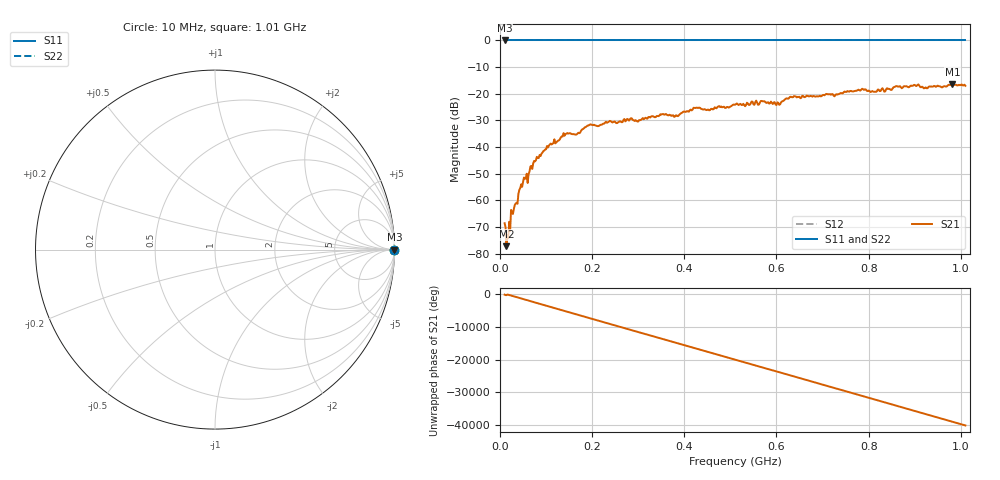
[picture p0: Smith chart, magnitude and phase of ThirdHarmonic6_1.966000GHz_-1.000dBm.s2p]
! 8/16/2025 11:39:33 PM
! C:\ANRITSUVNA\TEMP\TEMP.S2P
! CHANNEL.1
! TR.MEASUREMENT
! RAW.DATA
! RF.CORRECTION.OFF
! AVERAGING.OFF
! IF.BANDWIDTH: 5KHZ
! SWEEPTYPE:  FREQ.SWEEP(Linear)
! Reference Plane Port Info
! PORT:  PORT1  PORT2
! DISTANCE:  0  m  0  m
! TIME:  0  s  0  s
! PHASE.OFFSET:  0  deg.  0  deg.
! LOSS:  0  dB  0  dB
! REF.LOSS:  0  dB  0  dB
! REF.FREQ:  0  Hz  0  Hz
! Power Info
! POWER:  -20  dBm  -20  dBm
! EFF.POWER:  -20  dBm  -20  dBm
! SOURCE.ATTEN:  0  dB  0  dB
! TEST.ATTEN:  0  dB  0  dB
# GHZ S RI R 50.0
! FREQ.GHZ  S11RE  S11IM  S21RE  S21IM  S12RE  S12IM  S22RE  S22IM
!; PortSelection: Port_12
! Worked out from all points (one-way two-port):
!   501 points, 10 MHz to 1.01 GHz, reference 50 ohm
!   highest |S21| = -16.40 dB at 982 MHz (marker M1); lowest = -77.2 dB at 14 MHz (marker M2)
!   lowest |S11| = 0.0 dB at 10 MHz (marker M3)
!   |S11| at or under -10 dB: nowhere
!   |S22| runs from 0.0 to 0.0 dB; largest |S21 - S12| = 1.1
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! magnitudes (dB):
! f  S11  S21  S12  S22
! 10 MHz  0.0  -68.6  0.0  0.0
! 14 MHz  0.0  -77.2  0.0  0.0
! 18 MHz  0.0  -74.2  0.0  0.0
! 28 MHz  0.0  -65.1  0.0  0.0
! 48 MHz  0.0  -54.9  0.0  0.0
! 76 MHz  0.0  -45.4  0.0  0.0
! 106 MHz  0.0  -39.5  0.0  0.0
! 142 MHz  0.0  -35.2  0.0  0.0
! 178 MHz  0.0  -33.4  0.0  0.0
! 194 MHz  0.0  -31.7  0.0  0.0
! 344 MHz  0.0  -28.4  0.0  0.0
! 382 MHz  0.0  -28.1  0.0  0.0
! 424 MHz  0.0  -25.4  0.0  0.0
! 452 MHz  0.0  -25.9  0.0  0.0
! 510 MHz  0.0  -24.1  0.0  0.0
! 570 MHz  0.0  -22.8  0.0  0.0
! 604 MHz  0.0  -23.5  0.0  0.0
! 634 MHz  0.0  -21.3  0.0  0.0
! 678 MHz  0.0  -21.1  0.0  0.0
! 844 MHz  0.0  -18.2  0.0  0.0
! 982 MHz  0.0  -16.4  0.0  0.0
! 1.01 GHz  0.0  -17.0  0.0  0.0
